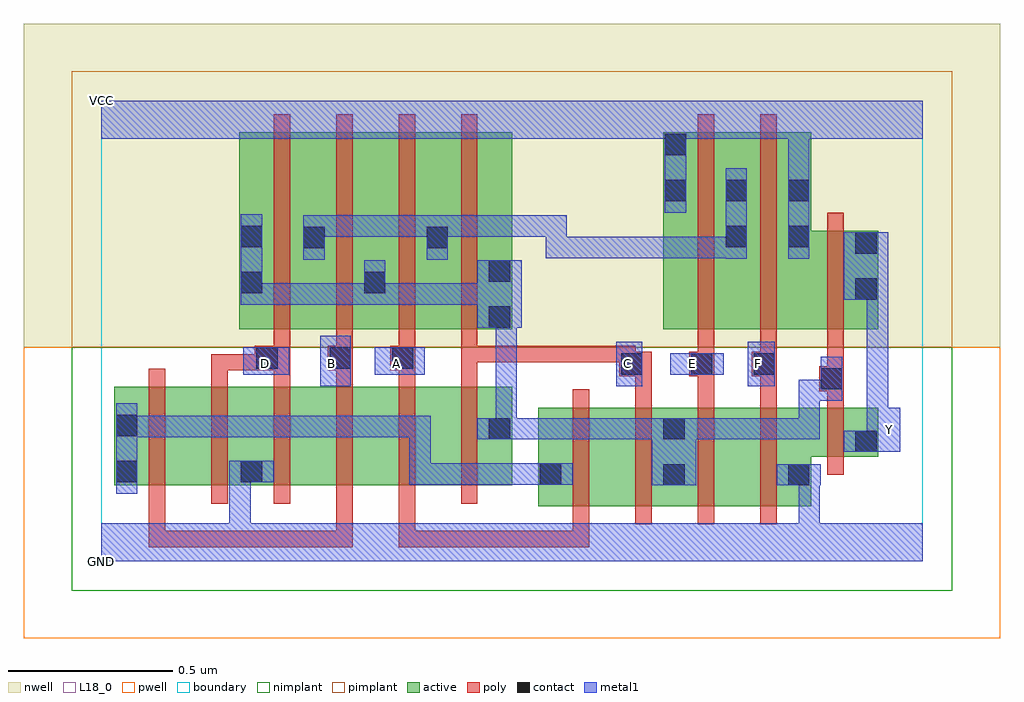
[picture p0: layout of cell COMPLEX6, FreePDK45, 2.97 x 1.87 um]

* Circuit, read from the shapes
.subckt COMPLEX6 A B C D E F GND VCC Y
M1 n1 B n2 VSUBS nfet w=0.3u l=0.05u
M2 GND D n1 VSUBS nfet w=0.3u l=0.05u
M3 n3 D GND VSUBS nfet w=0.3u l=0.05u
M4 n4 B n3 VSUBS nfet w=0.3u l=0.05u
M5 n5 A n4 VSUBS nfet w=0.3u l=0.05u
M6 n6 C n5 VSUBS nfet w=0.3u l=0.05u
M7 n7 A n2 VSUBS nfet w=0.3u l=0.05u
M8 n6 C n7 VSUBS nfet w=0.3u l=0.05u
M9 n8 E n6 VSUBS nfet w=0.3u l=0.05u
M10 GND F n8 VSUBS nfet w=0.3u l=0.05u
M11 Y n6 GND VSUBS nfet w=0.15u l=0.05u
M12 n9 D n6 n10 pfet w=0.6u l=0.05u
M13 n6 B n9 n10 pfet w=0.6u l=0.05u
M14 n9 A n6 n10 pfet w=0.6u l=0.05u
M15 n6 C n9 n10 pfet w=0.6u l=0.05u
M16 n9 E VCC n10 pfet w=0.6u l=0.05u
M17 VCC F n9 n10 pfet w=0.6u l=0.05u
M18 Y n6 VCC n10 pfet w=0.3u l=0.05u
.ends

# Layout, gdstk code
import gdstk
lib = gdstk.Library(unit=1e-6, precision=1e-09)
def R(c, l, rs):  # rectangles x0, y0, x1, y1
    for r in rs: c.add(gdstk.rectangle(r[:2], r[2:], *l))
def A(c, l, x, y, w, h, nx, ny, dx, dy):  # array of equal rectangles
    R(c, l, [(x+i*dx, y+j*dy, x+i*dx+w, y+j*dy+h) for i in range(nx) for j in range(ny)])
active = (1, 0)
pwell = (2, 0)
nwell = (3, 0)
nimplant = (4, 0)
pimplant = (5, 0)
poly = (9, 0)
contact = (10, 0)
metal1 = (11, 0)
L18_0 = (18, 0)
boundary = (235, 0)

complex6 = lib.new_cell('COMPLEX6')
R(complex6, active, [(1.33,0.167,1.555,0.467), (1.555,0.167,1.78,0.467), (1.705,0.167,1.935,0.467), (1.935,0.167,2.16,0.467), (2.085,0.167,2.16,0.442), (1.33,0.2,1.405,0.467), (1.705,0.2,1.78,0.467), (0.04,0.23,0.265,0.53), (0.04,0.23,0.115,0.53), (0.265,0.23,0.495,0.53), (0.42,0.23,0.645,0.53), (0.42,0.23,0.495,0.517), (0.645,0.23,0.835,0.53), (0.835,0.23,1.025,0.53), (1.025,0.23,1.25,0.53), (1.175,0.295,1.25,0.53), (2.085,0.317,2.365,0.467), (2.29,0.317,2.365,0.467), (0.42,0.705,0.685,1.305), (0.42,0.705,0.495,1.2), (0.61,0.705,0.87,1.305), (0.795,0.705,1.06,1.305), (0.985,0.705,1.25,1.305), (1.175,0.705,1.25,1.07), (1.71,0.705,1.785,1.305), (1.71,0.705,1.97,1.305), (1.895,0.705,2.16,1.305), (1.895,0.705,1.97,1.2), (2.085,0.705,2.365,1.005), (2.085,0.705,2.16,1.305), (2.29,0.705,2.365,1.005), (0.61,0.707,0.685,1.2), (0.795,0.707,0.87,1.07), (0.985,0.707,1.06,1.2)])
R(complex6, pwell, [(-0.235,-0.235,2.735,0.65)])
R(complex6, nwell, [(-0.235,0.65,2.735,1.635)])
R(complex6, nimplant, [(-0.09,-0.09,2.59,0.65)])
R(complex6, pimplant, [(-0.09,0.65,2.59,1.49)])
A(complex6, poly, 1.435, 0.112, 0.05, 0.41, 4, 1, 0.19, 0)
A(complex6, poly, 0.145, 0.175, 0.05, 0.41, 6, 1, 0.19, 0)
A(complex6, poly, 1.625, 0.472, 0.05, 0.14, 3, 1, 0.19, 0)
A(complex6, poly, 0.335, 0.535, 0.05, 0.095, 4, 1, 0.19, 0)
A(complex6, poly, 0.525, 0.605, 0.05, 0.095, 4, 1, 0.19, 0)
A(complex6, poly, 0.525, 0.65, 0.05, 0.71, 4, 1, 0.19, 0)
R(complex6, poly, [(0.145,0.042,0.195,0.092), (0.145,0.042,0.195,0.092), (0.145,0.042,0.195,0.092), (0.145,0.042,0.195,0.225), (0.145,0.042,0.385,0.092), (0.335,0.042,0.385,0.092), (0.335,0.042,0.385,0.092), (0.335,0.042,0.385,0.092), (0.335,0.042,0.517,0.092), (0.467,0.042,0.517,0.092), (0.467,0.042,0.765,0.092), (0.715,0.042,0.765,0.092), (0.715,0.042,0.765,0.092), (0.715,0.042,0.765,0.092), (0.715,0.042,0.765,0.225), (0.905,0.042,0.955,0.092), (0.905,0.042,0.955,0.092), (0.905,0.042,0.955,0.092), (0.905,0.042,1.262,0.092), (0.905,0.042,0.955,0.225), (1.212,0.042,1.262,0.092), (1.212,0.042,1.262,0.092), (1.212,0.042,1.262,0.092), (1.212,0.042,1.485,0.092), (1.435,0.042,1.485,0.092), (1.435,0.042,1.485,0.092), (1.435,0.042,1.485,0.092), (1.435,0.042,1.485,0.162), (2.21,0.262,2.26,0.522), (2.21,0.472,2.26,0.567), (2.185,0.517,2.26,0.592), (1.095,0.535,1.145,0.655), (2.21,0.542,2.26,0.7), (1.577,0.562,1.675,0.637), (1.79,0.562,1.865,0.637), (1.98,0.562,2.055,0.637), (0.335,0.58,0.385,0.63), (0.335,0.58,0.385,0.63), (0.335,0.58,0.385,0.63), (0.335,0.58,0.517,0.63), (0.467,0.58,0.575,0.655), (0.69,0.58,0.765,0.655), (0.88,0.58,0.955,0.655), (1.577,0.587,1.627,0.637), (1.577,0.587,1.627,0.655), (1.815,0.587,1.865,0.7), (2.005,0.587,2.055,0.7), (1.095,0.605,1.145,0.655), (1.095,0.605,1.145,0.655), (1.095,0.605,1.145,0.655), (1.095,0.605,1.395,0.655), (1.345,0.605,1.395,0.655), (1.345,0.605,1.395,0.655), (1.345,0.605,1.395,0.655), (1.345,0.605,1.627,0.655), (1.815,0.65,1.865,1.36), (2.005,0.65,2.055,1.36), (2.21,0.65,2.26,1.06)])
R(complex6, contact, [(1.71,0.23,1.775,0.295), (2.09,0.23,2.155,0.295), (1.335,0.232,1.4,0.297), (0.045,0.24,0.11,0.305), (0.425,0.24,0.49,0.305), (2.295,0.332,2.36,0.397), (1.18,0.37,1.245,0.435), (1.71,0.37,1.775,0.435), (0.045,0.38,0.11,0.445), (2.19,0.522,2.255,0.587), (1.582,0.567,1.647,0.632), (1.795,0.567,1.86,0.632), (1.985,0.567,2.05,0.632), (0.472,0.585,0.537,0.65), (0.695,0.585,0.76,0.65), (0.885,0.585,0.95,0.65), (1.18,0.71,1.245,0.775), (2.295,0.795,2.36,0.86), (0.425,0.815,0.49,0.88), (0.8,0.815,0.865,0.88), (1.18,0.85,1.245,0.915), (2.295,0.935,2.36,1), (0.615,0.952,0.68,1.017), (0.99,0.952,1.055,1.017), (0.425,0.955,0.49,1.02), (1.9,0.955,1.965,1.02), (2.09,0.955,2.155,1.02), (1.715,1.095,1.78,1.16), (1.9,1.095,1.965,1.16), (2.09,1.095,2.155,1.16), (1.715,1.235,1.78,1.3)])
R(complex6, metal1, [(0,0,2.5,0.115), (0.39,0.05,0.455,0.305), (2.122,0.05,2.187,0.295), (0.045,0.205,0.11,0.48), (1.675,0.23,1.81,0.435), (2.055,0.23,2.19,0.295), (2.122,0.23,2.187,0.295), (2.122,0.23,2.187,0.295), (0.937,0.232,1.002,0.297), (0.937,0.232,1.21,0.297), (0.937,0.232,1.002,0.442), (1.145,0.232,1.21,0.297), (1.145,0.232,1.21,0.297), (1.145,0.232,1.21,0.297), (1.145,0.232,1.365,0.297), (1.3,0.232,1.435,0.297), (0.39,0.24,0.455,0.305), (0.39,0.24,0.455,0.305), (0.39,0.24,0.525,0.305), (2.26,0.332,2.395,0.397), (2.33,0.332,2.395,0.397), (2.33,0.332,2.432,0.467), (1.145,0.37,1.28,0.435), (1.2,0.37,1.265,0.435), (1.2,0.37,1.265,0.435), (1.2,0.37,1.265,0.775), (1.215,0.37,1.417,0.435), (1.352,0.37,1.417,0.435), (1.352,0.37,1.417,0.435), (1.352,0.37,1.417,0.435), (1.352,0.37,1.572,0.435), (1.507,0.37,1.572,0.435), (1.507,0.37,1.572,0.435), (1.507,0.37,1.572,0.435), (1.507,0.37,1.74,0.435), (1.745,0.37,1.81,0.435), (1.745,0.37,1.81,0.435), (1.745,0.37,1.982,0.435), (1.917,0.37,1.982,0.435), (1.917,0.37,1.982,0.435), (1.917,0.37,1.982,0.435), (1.917,0.37,2.187,0.435), (2.122,0.37,2.187,0.435), (2.122,0.37,2.187,0.552), (0.045,0.377,0.11,0.442), (0.045,0.377,0.11,0.442), (0.045,0.377,0.247,0.442), (0.182,0.377,0.247,0.442), (0.182,0.377,0.247,0.442), (0.182,0.377,0.247,0.442), (0.182,0.377,0.542,0.442), (0.477,0.377,0.542,0.442), (0.477,0.377,0.542,0.442), (0.477,0.377,0.542,0.442), (0.477,0.377,0.705,0.442), (0.64,0.377,0.705,0.442), (0.64,0.377,0.705,0.442), (0.64,0.377,0.705,0.442), (0.64,0.377,0.842,0.442), (0.777,0.377,0.842,0.442), (0.777,0.377,0.842,0.442), (0.777,0.377,0.842,0.442), (0.777,0.377,1.002,0.442), (0.937,0.377,1.002,0.442), (2.33,0.402,2.395,0.86), (2.122,0.487,2.187,0.552), (2.122,0.487,2.255,0.552), (2.19,0.487,2.255,0.622), (0.667,0.532,0.76,0.685), (1.567,0.532,1.647,0.667), (1.967,0.532,2.05,0.667), (0.432,0.567,0.572,0.65), (0.832,0.567,0.985,0.65), (1.732,0.567,1.895,0.632), (1.145,0.71,1.28,0.915), (0.425,0.78,0.49,0.845), (0.425,0.78,0.49,0.845), (0.425,0.78,0.49,1.055), (0.425,0.78,0.705,0.845), (0.64,0.78,0.705,0.845), (0.64,0.78,0.705,0.845), (0.64,0.78,0.705,0.845), (0.64,0.78,0.865,0.845), (0.8,0.78,0.865,0.845), (0.8,0.78,0.865,0.845), (0.8,0.78,0.865,0.915), (0.8,0.78,1.072,0.845), (1.007,0.78,1.072,0.845), (1.007,0.78,1.21,0.845), (1.145,0.78,1.21,0.845), (1.145,0.78,1.21,0.845), (2.26,0.795,2.395,1), (0.615,0.917,0.68,1.052), (0.99,0.917,1.055,1.052), (1.9,0.92,1.965,1.195), (2.09,0.92,2.155,1.195), (1.352,0.922,1.417,0.987), (1.352,0.922,1.417,0.987), (1.352,0.922,1.417,0.987), (1.352,0.922,1.555,0.987), (1.352,0.922,1.417,1.052), (1.49,0.922,1.555,0.987), (1.49,0.922,1.555,0.987), (1.49,0.922,1.555,0.987), (1.49,0.922,1.827,0.987), (1.762,0.922,1.827,0.987), (1.762,0.922,1.827,0.987), (1.762,0.922,1.827,0.987), (1.762,0.922,1.965,0.987), (0.615,0.987,0.68,1.052), (0.615,0.987,0.68,1.052), (0.615,0.987,0.842,1.052), (0.777,0.987,0.842,1.052), (0.777,0.987,1.055,1.052), (0.99,0.987,1.055,1.052), (0.99,0.987,1.055,1.052), (0.99,0.987,1.21,1.052), (1.145,0.987,1.21,1.052), (1.145,0.987,1.21,1.052), (1.145,0.987,1.21,1.052), (1.145,0.987,1.417,1.052), (1.352,0.987,1.417,1.052), (1.715,1.06,1.78,1.335), (2.09,1.13,2.155,1.35), (1.715,1.27,1.78,1.35), (0,1.285,2.5,1.4)])
A(complex6, L18_0, 0.467, 0.567, 0.065, 0.065, 3, 1, 0.2, 0)
A(complex6, L18_0, 1.567, 0.567, 0.065, 0.065, 3, 1, 0.2, 0)
R(complex6, L18_0, [(0,0,2.5,0.115), (0.39,0.05,0.455,0.305), (2.122,0.05,2.187,0.295), (2.055,0.23,2.19,0.295), (2.122,0.23,2.187,0.295), (2.122,0.23,2.187,0.295), (0.39,0.24,0.455,0.305), (0.39,0.24,0.455,0.305), (0.39,0.24,0.525,0.305), (2.26,0.332,2.395,0.397), (2.33,0.332,2.395,0.397), (2.33,0.332,2.432,0.467), (2.367,0.367,2.432,0.432), (2.33,0.402,2.395,0.86), (0.667,0.532,0.76,0.685), (1.567,0.532,1.647,0.667), (1.967,0.532,2.05,0.667), (0.432,0.567,0.572,0.65), (0.832,0.567,0.985,0.65), (1.732,0.567,1.895,0.632), (2.26,0.795,2.395,1), (2.09,0.92,2.155,1.195), (1.715,1.06,1.78,1.335), (2.09,1.13,2.155,1.35), (1.715,1.27,1.78,1.35), (0,1.285,2.5,1.4)])
R(complex6, boundary, [(0,0,2.5,1.4)])
complex6.add(gdstk.Label('A', (0.9,0.6), layer=11, texttype=0))
complex6.add(gdstk.Label('B', (0.7,0.6), layer=11, texttype=0))
complex6.add(gdstk.Label('C', (1.6,0.6), layer=11, texttype=0))
complex6.add(gdstk.Label('D', (0.5,0.6), layer=11, texttype=0))
complex6.add(gdstk.Label('E', (1.8,0.6), layer=11, texttype=0))
complex6.add(gdstk.Label('F', (2,0.6), layer=11, texttype=0))
complex6.add(gdstk.Label('Y', (2.4,0.4), layer=11, texttype=0))
complex6.add(gdstk.Label('VCC', (0,1.4), layer=11, texttype=0))
complex6.add(gdstk.Label('GND', (0,0), layer=11, texttype=0))

lib.write_gds('COMPLEX6.gds')
